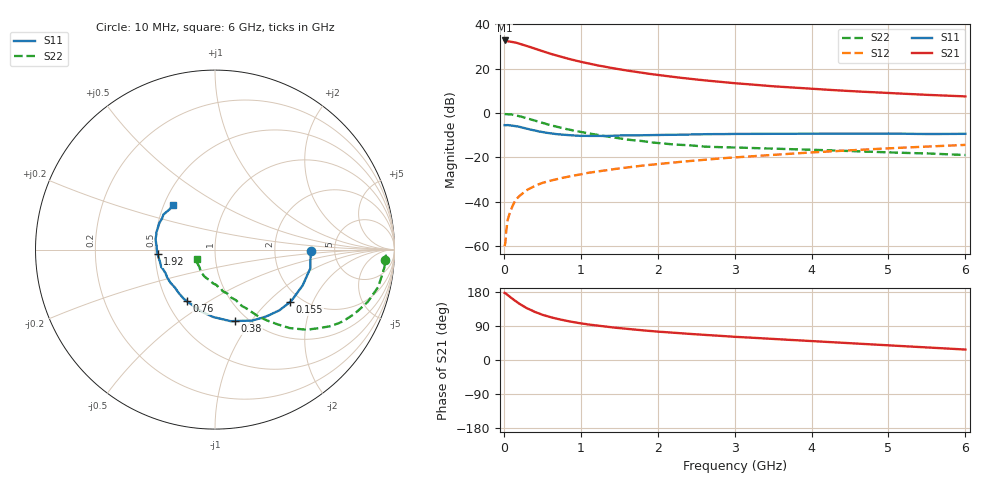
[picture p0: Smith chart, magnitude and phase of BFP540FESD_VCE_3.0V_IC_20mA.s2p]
! Infineon Technologies  Discrete & RF Semiconductors
! BFP540FESD
! VCE =  3.0 V,  IC =  20 mA
! Common Emitter S-Parameters:  Nov 2015
# GHz  S  MA  R  50
!  f  S11  S21  S12  S22
! GHz  MAG  ANG  MAG  ANG  MAG  ANG  MAG  ANG
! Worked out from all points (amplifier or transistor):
!   210 points, 10 MHz to 6 GHz, reference 50 ohm
!   highest |S21| = 32.8 dB at 10 MHz (marker M1)
!   |S21| within 3 dB of that: start of sweep to 344.3 MHz
!   unconditionally stable (mu >= 1): 1.793 GHz to end of sweep
!   at 185 MHz: K = 0.28, MSG = 34.8 dB, |S12| = -38.0 dB
!   at 1.52 GHz: K = 0.95, MSG = 22.3 dB, |S12| = -24.9 dB
!   at 6 GHz: K = 1.17, MAG = 8.4 dB, |S12| = -14.3 dB
!   S11 on the Smith chart (normalised r, x): 10 MHz: 3.31, -0.10; 155 MHz: 1.74, -1.38; 380 MHz: 0.87, -0.84; 760 MHz: 0.63, -0.41; 1.92 GHz: 0.51, -0.03; 6 GHz: 0.56, +0.32
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0.01  0.5364 -1.1  43.63 177.2  0.001 78.9  0.9478 -3.5
0.02  0.5343 -5.8  42.23 176.1  0.0012 98.1  0.9532 -2.0
0.05  0.5412 -11.1  42 171.5  0.0039 88.5  0.9485 -6.2
0.075  0.5319 -16.6  41.29 167.5  0.0054 83.9  0.9391 -9.5
0.1  0.5276 -22.2  40.79 163.3  0.007 81.4  0.933 -12.9
0.155  0.5099 -35.1  39.13 155.1  0.0111 75.7  0.8944 -19.5
0.2  0.4931 -43.3  37.17 148.6  0.0134 76.5  0.8567 -24.6
0.26  0.4638 -54.6  34.54 141.4  0.0163 71.2  0.8048 -30.5
0.3  0.4463 -62.4  32.84 136.6  0.0184 70.3  0.7674 -33.9
0.38  0.4133 -74.4  29.43 129.2  0.0219 66.4  0.6975 -39.4
0.5  0.3755 -91.6  25.11 119.4  0.0267 64.6  0.6024 -46.5
0.6  0.3526 -102.9  22 113.2  0.0298 62.4  0.5393 -50.3
0.76  0.3272 -118.5  18.37 105.7  0.0346 62.1  0.4617 -55.7
0.9  0.3152 -130.0  15.84 100.0  0.0388 61.5  0.407 -59.2
1.02  0.3075 -137.8  14.16 96.1  0.0423 61.9  0.3715 -61.9
1.4  0.3076 -158.1  10.46 86.2  0.0537 61.1  0.2871 -70.6
1.92  0.3209 -175.4  7.596 76.4  0.0688 59.9  0.2187 -81.7
2.02  0.3234 -179.0  7.2 74.6  0.0715 59.2  0.2114 -84.6
3.1  0.3401 162.6  4.602 60.2  0.103 54.4  0.1663 -106.4
4.1  0.3432 153.4  3.459 48.8  0.1331 49.0  0.1476 -120.3
5.1  0.3451 144.3  2.796 37.6  0.1641 41.7  0.1288 -133.9
6  0.3417 132.8  2.389 27.6  0.1923 34.6  0.1138 -153.0
